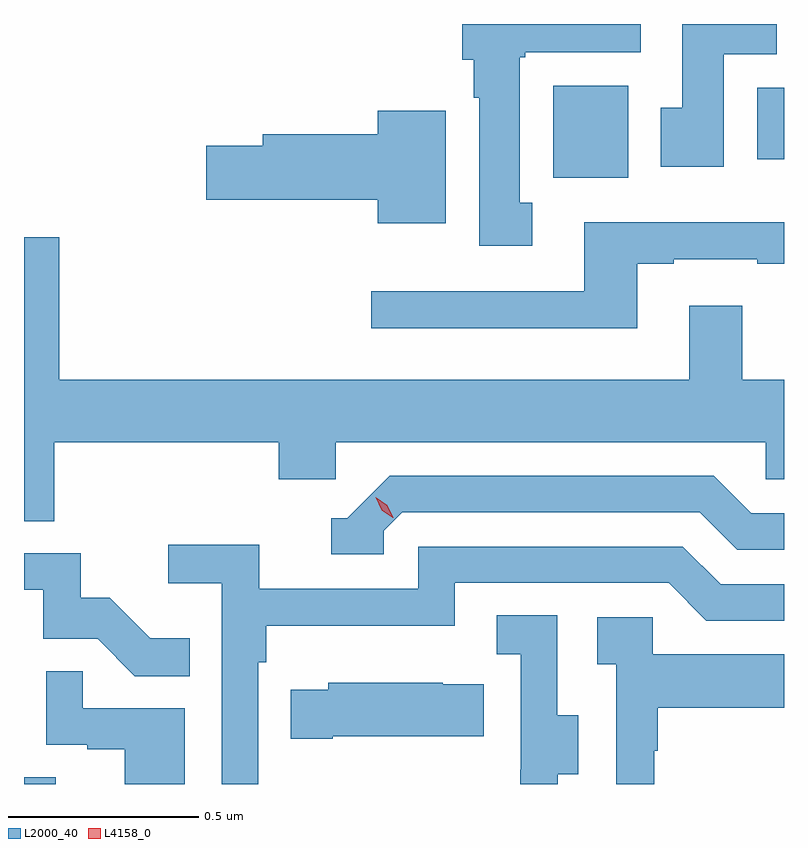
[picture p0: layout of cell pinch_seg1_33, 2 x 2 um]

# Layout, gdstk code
import gdstk
lib = gdstk.Library(unit=1e-6, precision=1e-09)
def R(c, l, rs):  # rectangles x0, y0, x1, y1
    for r in rs: c.add(gdstk.rectangle(r[:2], r[2:], *l))
def P(c, l, *ps):  # polygons
    for p in ps: c.add(gdstk.Polygon(p, *l))
L2000_40 = (2000, 40)
L4158_0 = (4158, 0)

pinch_seg1_33 = lib.new_cell('pinch_seg1_33')
R(pinch_seg1_33, L2000_40, [(1142.101,564.152,1142.185,564.17), (1143.494,565.748,1143.691,565.99), (1144.031,565.796,1144.101,565.984)])
P(pinch_seg1_33, L2000_40, [(1143.439,565.682),(1143.406,565.682),(1143.406,566.065),(1143.42,566.065),(1143.42,566.078),(1143.724,566.078),(1143.724,566.152),(1143.254,566.152),(1143.254,566.058),(1143.284,566.058),(1143.284,565.958),(1143.299,565.958),(1143.299,565.569),(1143.439,565.569)],
  [(1143.943,566.072),(1144.082,566.072),(1144.082,566.152),(1143.833,566.152),(1143.833,565.932),(1143.776,565.932),(1143.776,565.776),(1143.943,565.776)],
  [(1143.211,565.924),(1143.032,565.924),(1143.032,565.862),(1142.729,565.862),(1142.729,565.832),(1142.58,565.832),(1142.58,565.69),(1143.032,565.69),(1143.032,565.628),(1143.211,565.628)],
  [(1143.715,565.521),(1143.811,565.521),(1143.811,565.533),(1144.031,565.533),(1144.031,565.521),(1144.101,565.521),(1144.101,565.63),(1143.575,565.63),(1143.575,565.449),(1143.015,565.449),(1143.015,565.352),(1143.715,565.352)],
  [(1142.18,565.052),(1142.771,565.052),(1142.771,564.954),(1142.922,564.954),(1142.922,565.052),(1144.053,565.052),(1144.053,564.954),(1144.101,564.954),(1144.101,565.216),(1143.991,565.216),(1143.991,565.411),(1143.851,565.411),(1143.851,565.216),(1142.194,565.216),(1142.194,565.591),(1142.101,565.591),(1142.101,564.844),(1142.18,564.844)],
  [(1143.048,564.819),(1143.096,564.867),(1143.879,564.867),(1143.978,564.768),(1144.101,564.768),(1144.101,564.864),(1144.015,564.864),(1143.916,564.963),(1143.063,564.963),(1142.952,564.852),(1142.909,564.852),(1142.909,564.756),(1143.048,564.756)],
  [(1142.718,564.473),(1142.738,564.473),(1142.738,564.569),(1143.234,564.569),(1143.234,564.681),(1143.798,564.681),(1143.897,564.582),(1144.101,564.582),(1144.101,564.678),(1143.934,564.678),(1143.835,564.777),(1143.138,564.777),(1143.138,564.666),(1142.72,564.666),(1142.72,564.782),(1142.481,564.782),(1142.481,564.68),(1142.622,564.68),(1142.622,564.152),(1142.718,564.152)],
  [(1142.537,564.535),(1142.433,564.535),(1142.326,564.642),(1142.25,564.642),(1142.25,564.759),(1142.101,564.759),(1142.101,564.663),(1142.151,564.663),(1142.151,564.534),(1142.295,564.534),(1142.393,564.436),(1142.537,564.436)],
  [(1143.505,564.178),(1143.559,564.178),(1143.559,564.333),(1143.504,564.333),(1143.504,564.596),(1143.345,564.596),(1143.345,564.493),(1143.408,564.493),(1143.408,564.189),(1143.407,564.189),(1143.407,564.152),(1143.505,564.152)],
  [(1143.759,564.239),(1143.769,564.239),(1143.769,564.353),(1144.101,564.353),(1144.101,564.493),(1143.756,564.493),(1143.756,564.591),(1143.609,564.591),(1143.609,564.467),(1143.66,564.467),(1143.66,564.152),(1143.759,564.152)],
  [(1142.524,564.351),(1142.255,564.351),(1142.255,564.449),(1142.16,564.449),(1142.16,564.255),(1142.267,564.255),(1142.267,564.243),(1142.366,564.243),(1142.366,564.152),(1142.524,564.152)],
  [(1142.914,564.278),(1143.311,564.278),(1143.311,564.415),(1143.203,564.415),(1143.203,564.418),(1142.901,564.418),(1142.901,564.4),(1142.803,564.4),(1142.803,564.271),(1142.914,564.271)])
P(pinch_seg1_33, L4158_0, [(1143.072,564.853),(1143.042,564.873),(1143.026,564.906),(1143.026,564.906),(1143.026,564.906),(1143.057,564.886),(1143.073,564.854),(1143.073,564.853)])

lib.write_gds('pinch_seg1_33.gds')
